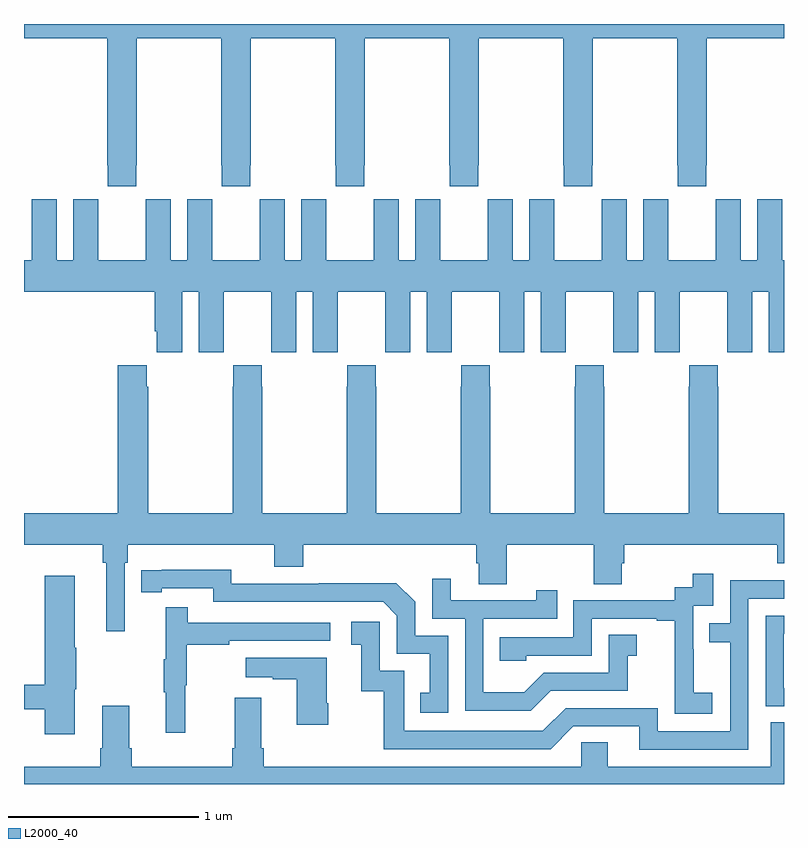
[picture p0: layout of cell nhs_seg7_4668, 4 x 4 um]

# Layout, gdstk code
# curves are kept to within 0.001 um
import gdstk
lib = gdstk.Library(unit=1e-6, precision=1e-09)
def P(c, l, *ps):  # polygons
    for p in ps: c.add(gdstk.Polygon(p, *l))
L2000_40 = (2000, 40)

nhs_seg7_4668 = lib.new_cell('nhs_seg7_4668')
P(nhs_seg7_4668, L2000_40, [(405.591,1025.257),(405.594,1025.257),(405.594,1025.924),(406.039,1025.924),(406.039,1025.257),(406.041,1025.257),(406.041,1025.145),(406.191,1025.145),(406.191,1025.257),(406.194,1025.257),(406.194,1025.924),(406.639,1025.924),(406.639,1025.257),(406.641,1025.257),(406.641,1025.145),(406.791,1025.145),(406.791,1025.257),(406.794,1025.257),(406.794,1025.924),(407.239,1025.924),(407.239,1025.257),(407.241,1025.257),(407.241,1025.145),(407.391,1025.145),(407.391,1025.257),(407.394,1025.257),(407.394,1025.924),(407.839,1025.924),(407.839,1025.257),(407.841,1025.257),(407.841,1025.145),(407.991,1025.145),(407.991,1025.257),(407.994,1025.257),(407.994,1025.924),(408.439,1025.924),(408.439,1025.257),(408.441,1025.257),(408.441,1025.145),(408.591,1025.145),(408.591,1025.257),(408.594,1025.257),(408.594,1025.924),(409,1025.924),(409,1026),(405,1026),(405,1025.924),(405.439,1025.924),(405.439,1025.257),(405.441,1025.257),(405.441,1025.145),(405.591,1025.145)],
  [(407.191,1024.964),(407.19,1024.964),(407.19,1025.077),(407.06,1025.077),(407.06,1024.756),(406.972,1024.756),(406.972,1025.077),(406.842,1025.077),(406.842,1024.964),(406.841,1024.964),(406.841,1024.756),(406.591,1024.756),(406.591,1024.964),(406.59,1024.964),(406.59,1025.077),(406.46,1025.077),(406.46,1024.756),(406.372,1024.756),(406.372,1025.077),(406.242,1025.077),(406.242,1024.964),(406.241,1024.964),(406.241,1024.756),(405.991,1024.756),(405.991,1024.964),(405.99,1024.964),(405.99,1025.077),(405.86,1025.077),(405.86,1024.756),(405.772,1024.756),(405.772,1025.077),(405.642,1025.077),(405.642,1024.964),(405.641,1024.964),(405.641,1024.756),(405.391,1024.756),(405.391,1024.964),(405.39,1024.964),(405.39,1025.077),(405.26,1025.077),(405.26,1024.756),(405.172,1024.756),(405.172,1025.077),(405.042,1025.077),(405.042,1024.964),(405.041,1024.964),(405.041,1024.756),(405,1024.756),(405,1024.592),(405.689,1024.592),(405.689,1024.384),(405.698,1024.384),(405.698,1024.272),(405.832,1024.272),(405.832,1024.592),(405.92,1024.592),(405.92,1024.272),(406.05,1024.272),(406.05,1024.384),(406.051,1024.384),(406.051,1024.592),(406.301,1024.592),(406.301,1024.384),(406.302,1024.384),(406.302,1024.272),(406.432,1024.272),(406.432,1024.592),(406.52,1024.592),(406.52,1024.272),(406.65,1024.272),(406.65,1024.384),(406.651,1024.384),(406.651,1024.592),(406.901,1024.592),(406.901,1024.384),(406.902,1024.384),(406.902,1024.272),(407.032,1024.272),(407.032,1024.592),(407.12,1024.592),(407.12,1024.272),(407.25,1024.272),(407.25,1024.384),(407.251,1024.384),(407.251,1024.592),(407.501,1024.592),(407.501,1024.384),(407.502,1024.384),(407.502,1024.272),(407.632,1024.272),(407.632,1024.592),(407.72,1024.592),(407.72,1024.272),(407.85,1024.272),(407.85,1024.384),(407.851,1024.384),(407.851,1024.592),(408.101,1024.592),(408.101,1024.384),(408.102,1024.384),(408.102,1024.272),(408.232,1024.272),(408.232,1024.592),(408.32,1024.592),(408.32,1024.272),(408.45,1024.272),(408.45,1024.384),(408.451,1024.384),(408.451,1024.592),(408.701,1024.592),(408.701,1024.384),(408.702,1024.384),(408.702,1024.272),(408.832,1024.272),(408.832,1024.592),(408.92,1024.592),(408.92,1024.272),(409,1024.272),(409,1024.756),(408.991,1024.756),(408.991,1024.964),(408.99,1024.964),(408.99,1025.077),(408.86,1025.077),(408.86,1024.756),(408.772,1024.756),(408.772,1025.077),(408.642,1025.077),(408.642,1024.964),(408.641,1024.964),(408.641,1024.756),(408.391,1024.756),(408.391,1024.964),(408.39,1024.964),(408.39,1025.077),(408.26,1025.077),(408.26,1024.756),(408.172,1024.756),(408.172,1025.077),(408.042,1025.077),(408.042,1024.964),(408.041,1024.964),(408.041,1024.756),(407.791,1024.756),(407.791,1024.964),(407.79,1024.964),(407.79,1025.077),(407.66,1025.077),(407.66,1024.756),(407.572,1024.756),(407.572,1025.077),(407.442,1025.077),(407.442,1024.964),(407.441,1024.964),(407.441,1024.756),(407.191,1024.756)],
  [(405.531,1023.164),(405.545,1023.164),(405.545,1023.26),(406.316,1023.26),(406.316,1023.143),(406.469,1023.143),(406.469,1023.26),(407.381,1023.26),(407.381,1023.162),(407.393,1023.162),(407.393,1023.052),(407.541,1023.052),(407.541,1023.26),(407.998,1023.26),(407.998,1023.052),(408.145,1023.052),(408.145,1023.162),(408.158,1023.162),(408.158,1023.26),(408.965,1023.26),(408.965,1023.161),(409,1023.161),(409,1023.424),(408.654,1023.424),(408.654,1024.091),(408.651,1024.091),(408.651,1024.204),(408.501,1024.204),(408.501,1024.091),(408.499,1024.091),(408.499,1023.424),(408.054,1023.424),(408.054,1024.091),(408.051,1024.091),(408.051,1024.204),(407.901,1024.204),(407.901,1024.091),(407.899,1024.091),(407.899,1023.424),(407.454,1023.424),(407.454,1024.091),(407.451,1024.091),(407.451,1024.204),(407.301,1024.204),(407.301,1024.091),(407.299,1024.091),(407.299,1023.424),(406.854,1023.424),(406.854,1024.091),(406.851,1024.091),(406.851,1024.204),(406.701,1024.204),(406.701,1024.091),(406.699,1024.091),(406.699,1023.424),(406.254,1023.424),(406.254,1024.091),(406.251,1024.091),(406.251,1024.204),(406.101,1024.204),(406.101,1024.091),(406.099,1024.091),(406.099,1023.424),(405.654,1023.424),(405.654,1024.091),(405.647,1024.091),(405.647,1024.204),(405.494,1024.204),(405.494,1023.424),(405,1023.424),(405,1023.26),(405.415,1023.26),(405.415,1023.164),(405.434,1023.164),(405.434,1022.805),(405.531,1022.805)],
  [(407.232,1022.781),(407.058,1022.781),(407.058,1022.958),(406.96,1023.056),(406.552,1023.056),(406.552,1023.054),(406.092,1023.054),(406.092,1023.127),(405.616,1023.126),(405.616,1023.01),(405.724,1023.01),(405.724,1023.03),(405.996,1023.03),(405.996,1022.958),(406.89,1022.958),(406.962,1022.886),(406.962,1022.685),(407.135,1022.685),(407.135,1022.481),(407.086,1022.481),(407.086,1022.376),(407.232,1022.376)],
  [(408.622,1022.479),(408.524,1022.479),(408.524,1022.708),(408.522,1022.708),(408.522,1022.937),(408.627,1022.937),(408.627,1023.106),(408.519,1023.106),(408.519,1023.036),(408.426,1023.036),(408.426,1022.967),(407.892,1022.967),(407.892,1022.772),(407.503,1022.772),(407.503,1022.649),(407.643,1022.649),(407.643,1022.676),(407.988,1022.676),(407.988,1022.871),(408.329,1022.871),(408.329,1022.859),(408.425,1022.859),(408.425,1022.575),(408.424,1022.575),(408.424,1022.369),(408.622,1022.369)],
  [(405.268,1022.499),(405.276,1022.499),(405.276,1022.717),(405.268,1022.717),(405.268,1023.097),(405.11,1023.097),(405.11,1022.522),(405,1022.522),(405,1022.394),(405.11,1022.394),(405.11,1022.262),(405.268,1022.262)],
  [(407.773,1022.49),(408.177,1022.49),(408.177,1022.675),(408.226,1022.675),(408.226,1022.785),(408.078,1022.785),(408.078,1022.586),(407.736,1022.586),(407.632,1022.482),(407.418,1022.482),(407.418,1022.871),(407.807,1022.871),(407.807,1023.019),(407.696,1023.019),(407.696,1022.967),(407.245,1022.967),(407.245,1023.079),(407.148,1023.079),(407.148,1022.871),(407.322,1022.871),(407.322,1022.385),(407.668,1022.385)],
  [(408.813,1022.976),(409,1022.976),(409,1023.072),(408.717,1023.072),(408.717,1022.847),(408.607,1022.847),(408.607,1022.746),(408.717,1022.746),(408.717,1022.277),(408.336,1022.277),(408.336,1022.4),(407.85,1022.4),(407.73,1022.28),(407.001,1022.28),(407.001,1022.595),(406.872,1022.595),(406.872,1022.854),(406.722,1022.854),(406.722,1022.733),(406.775,1022.733),(406.775,1022.487),(406.893,1022.487),(406.893,1022.184),(407.772,1022.184),(407.892,1022.304),(408.239,1022.304),(408.239,1022.181),(408.813,1022.181)],
  [(405.848,1022.52),(405.856,1022.52),(405.856,1022.734),(406.079,1022.734),(406.079,1022.754),(406.612,1022.754),(406.612,1022.85),(405.863,1022.85),(405.863,1022.929),(405.746,1022.929),(405.746,1022.657),(405.735,1022.657),(405.735,1022.483),(405.746,1022.483),(405.746,1022.271),(405.848,1022.271)],
  [(409,1022.505),(408.999,1022.505),(408.999,1022.79),(409,1022.79),(409,1022.886),(408.903,1022.886),(408.903,1022.409),(409,1022.409)],
  [(406.602,1022.425),(406.594,1022.425),(406.594,1022.665),(406.167,1022.665),(406.167,1022.561),(406.31,1022.561),(406.31,1022.551),(406.436,1022.551),(406.436,1022.313),(406.602,1022.313)],
  [(405.413,1022.413),(405.413,1022.188),(405.401,1022.188),(405.401,1022.092),(405,1022.092),(405,1022),(409,1022),(409,1022.324),(408.929,1022.324),(408.929,1022.092),(408.073,1022.092),(408.073,1022.219),(407.934,1022.219),(407.934,1022.092),(406.262,1022.092),(406.262,1022.188),(406.249,1022.188),(406.249,1022.455),(406.109,1022.455),(406.109,1022.188),(406.097,1022.188),(406.097,1022.092),(405.566,1022.092),(405.566,1022.188),(405.553,1022.188),(405.553,1022.413)])

lib.write_gds('nhs_seg7_4668.gds')
